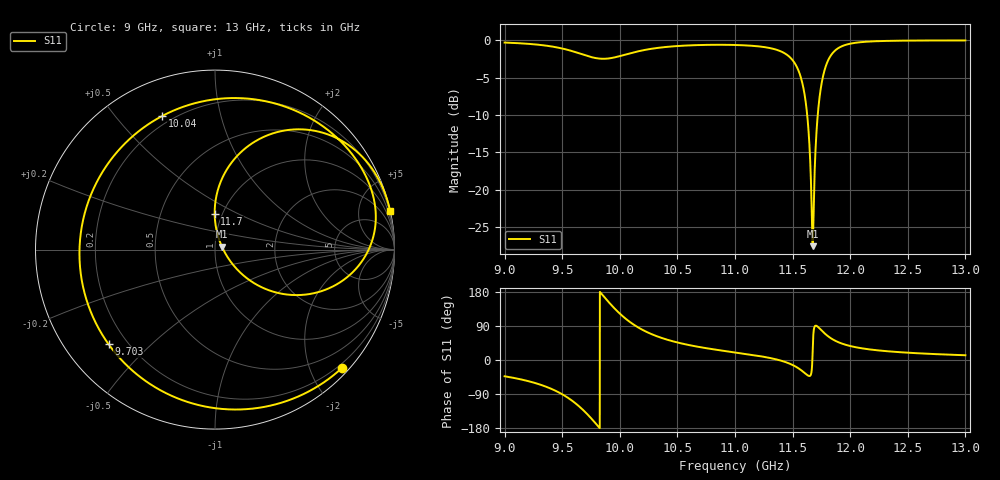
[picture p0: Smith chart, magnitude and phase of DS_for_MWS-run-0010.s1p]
! TOUCHSTONE file generated by CST DESIGN STUDIO
! Date and time: Tue Feb  4 17:41:48 2025
! Project name: C:\Work\MatlabApps\UnitCellOptimizationMatlab\CST\unitcell.cst
! Tree item: Tasks\Sweep1\SPara1\S-Parameters
! Header version: 2024
! Port assignment regex: !\s*Touchstone port\s*([0-9]+)\s*=\s*(CST MWS port|CST DES external port|CST DES block port)\s*(.+)\s* \(\"(.*)\"\)(\s*mode\s*([0-9]+))?.*
! Touchstone port assignment:
! Touchstone port 1 = CST DES external port 1 ("")
# GHz S MA R 50
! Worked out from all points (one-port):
!   4001 points, 9 GHz to 13 GHz, reference 50 ohm
!   lowest |S11| = -27.6 dB at 11.67 GHz (marker M1), VSWR 1.09, Z = 54 + j1.74 ohm
!   |S11| at or under -10 dB: 11.63 GHz to 11.72 GHz (91.33 MHz wide, 0.782 % of centre)
!   S11 on the Smith chart (normalised r, x): 9 GHz: 0.12, -2.54; 9.703 GHz: 0.13, -0.37; 10.04 GHz: 0.16, +0.67; 11.7 GHz: 0.92, +0.38; 13 GHz: 0.04, +9.10
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9  0.9672 -43.0
9.278  0.938 -62.0
9.5  0.8825 -90.4
9.607  0.8384 -112.3
9.703  0.7934 -138.4
9.777  0.7652 -162.6
9.845  0.7535 173.3
10  0.785 122.4
10.04  0.8003 111.7
10.137  0.8373 90.1
10.26  0.875 70.3
10.5  0.9168 46.3
11  0.9318 20.0
11.328  0.8798 3.7
11.5  0.7372 -13.2
11.565  0.5866 -24.9
11.61  0.4055 -35.6
11.635  0.2682 -41.2
11.661  0.1029 -36.4
11.674  0.04192 22.6
11.686  0.09592 83.2
11.701  0.1994 90.5
11.733  0.4103 83.7
11.786  0.6645 68.1
11.883  0.873 48.9
12  0.9505 36.9
12.5  0.9968 19.3
13  0.999 12.5
